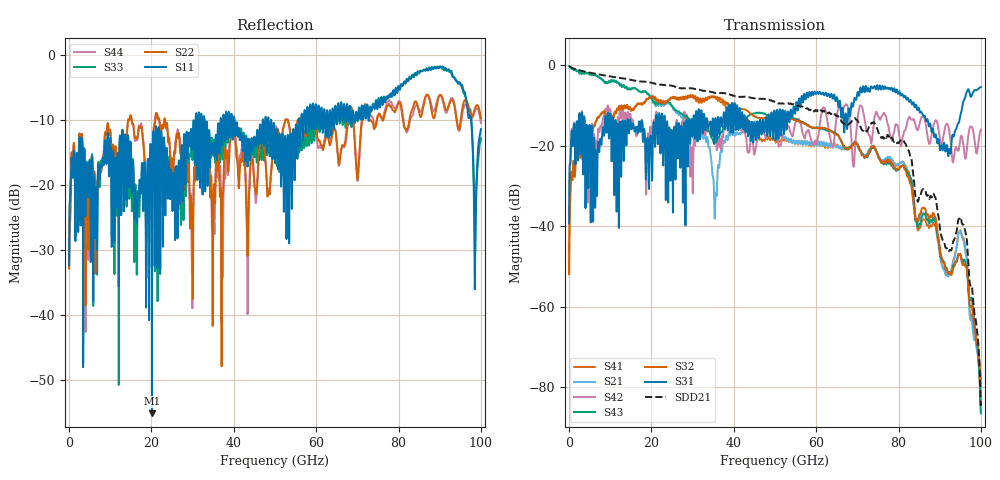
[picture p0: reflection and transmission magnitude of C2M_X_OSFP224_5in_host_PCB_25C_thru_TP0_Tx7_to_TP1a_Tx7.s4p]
# GHz S RI R 45
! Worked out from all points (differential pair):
!   4000 points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, 25 MHz to 100 GHz, reference 45 ohm
!   strongest paths, dB at 25 MHz, 25.02 GHz, 50.02 GHz, 75.03 GHz, 100 GHz:
!     S31: -39.3, -17.3, -13.9, -5.6, -5.4
!     S32: -51.9, -8.0, -13.3, -22.5, -78.1
!     S43: -0.2, -10.0, -13.1, -22.5, -86.5
!     S42: -39.3, -21.2, -13.8, -12.5, -15.9
!     S21: -0.2, -10.2, -16.3, -22.2, -78.7
!     S41: -51.9, -8.2, -18.7, -22.3, -79.3
!   taken as a pair (ports 3,1 in; 4,2 out), SDD21 dB: -0.2, -5.1, -9.2, -16.4, -84.1
!   lowest |S11| = -55.1 dB at 20.12 GHz (marker M1), VSWR 1.00, Z = 45.2 + j0.0451 ohm
!   |S11| at or under -10 dB: start of sweep to 30.23 GHz; 40.2 GHz to 47.02 GHz (6.821 GHz wide, 15.6 % of centre); 49.09 GHz to 55.73 GHz (6.631 GHz wide, 12.7 % of centre) (the widest 3 of 39)
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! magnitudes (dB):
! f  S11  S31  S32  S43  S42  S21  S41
! 25 MHz  -32.3  -39.3  -51.9  -0.2  -39.3  -0.2  -51.9
! 2.675 GHz  -13.9  -13.9  -22.2  -1.8  -13.2  -1.8  -22.2
! 20.12 GHz  -55.1  -25.9  -7.7  -8.0  -19.4  -8.2  -7.8
! 35.5 GHz  -13.3  -13.3  -7.8  -19.1  -17.1  -33.8  -8.2
! 81.28 GHz  -4.2  -7.9  -25.3  -25.1  -16.8  -24.4  -24.2
! 95.53 GHz  -4.7  -10.0  -49.5  -49.0  -18.2  -43.1  -42.6
! 100 GHz  -11.4  -5.4  -78.1  -86.5  -15.9  -78.7  -79.3
